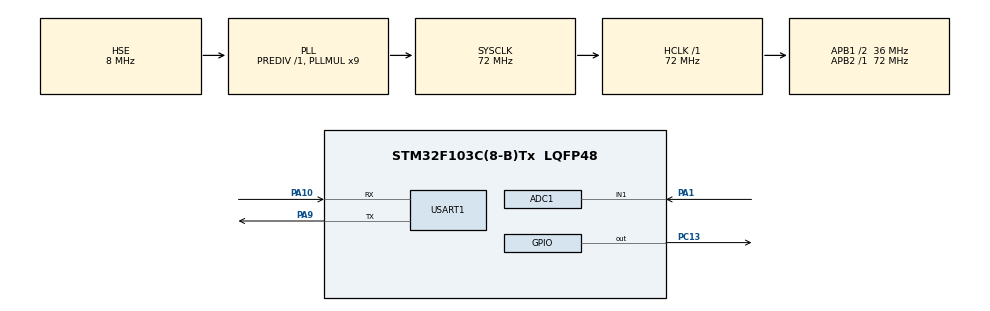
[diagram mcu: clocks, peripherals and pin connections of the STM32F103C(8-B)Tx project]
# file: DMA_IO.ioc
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ADC1.Channel-0\#ChannelRegularConversion=ADC_CHANNEL_1
ADC1.NbrOfConversionFlag=1
ADC1.Rank-0\#ChannelRegularConversion=1
ADC1.SamplingTime-0\#ChannelRegularConversion=ADC_SAMPLETIME_1CYCLE_5
ADC1.master=1
Dma.Request0=USART1_RX
Dma.Request1=USART1_TX
Dma.USART1_RX.0.Direction=DMA_PERIPH_TO_MEMORY
Dma.USART1_RX.0.Instance=DMA1_Channel5
Dma.USART1_RX.0.MemDataAlignment=DMA_MDATAALIGN_BYTE
Dma.USART1_RX.0.MemInc=DMA_MINC_ENABLE
Dma.USART1_RX.0.Mode=DMA_CIRCULAR
Dma.USART1_RX.0.PeriphDataAlignment=DMA_PDATAALIGN_BYTE
Dma.USART1_RX.0.PeriphInc=DMA_PINC_DISABLE
Dma.USART1_RX.0.Priority=DMA_PRIORITY_LOW
Dma.USART1_TX.1.Direction=DMA_MEMORY_TO_PERIPH
Dma.USART1_TX.1.Instance=DMA1_Channel4
Dma.USART1_TX.1.MemDataAlignment=DMA_MDATAALIGN_BYTE
Dma.USART1_TX.1.MemInc=DMA_MINC_ENABLE
Dma.USART1_TX.1.Mode=DMA_NORMAL
Dma.USART1_TX.1.PeriphDataAlignment=DMA_PDATAALIGN_BYTE
Dma.USART1_TX.1.PeriphInc=DMA_PINC_DISABLE
Dma.USART1_TX.1.Priority=DMA_PRIORITY_LOW
Mcu.Family=STM32F1
Mcu.Name=STM32F103C(8-B)Tx
Mcu.Package=LQFP48
NVIC.ADC1_2_IRQn=true\:0\:0\:false\:false\:true\:true\:true\:true
NVIC.DMA1_Channel4_IRQn=true\:0\:0\:false\:false\:true\:false\:true\:true
NVIC.DMA1_Channel5_IRQn=true\:0\:0\:false\:false\:true\:false\:true\:true
NVIC.PriorityGroup=NVIC_PRIORITYGROUP_4
NVIC.USART1_IRQn=true\:0\:0\:false\:false\:true\:true\:true\:true
PA1.Signal=ADCx_IN1
PA10.Mode=Asynchronous
PA10.Signal=USART1_RX
PA13.Mode=Serial_Wire
PA13.Signal=SYS_JTMS-SWDIO
PA14.Mode=Serial_Wire
PA14.Signal=SYS_JTCK-SWCLK
PA9.Mode=Asynchronous
PA9.Signal=USART1_TX
PC13-TAMPER-RTC.Signal=GPIO_Output
PC14-OSC32_IN.Mode=LSE-External-Oscillator
PC14-OSC32_IN.Signal=RCC_OSC32_IN
PC15-OSC32_OUT.Mode=LSE-External-Oscillator
PC15-OSC32_OUT.Signal=RCC_OSC32_OUT
PD0-OSC_IN.Mode=HSE-External-Oscillator
PD0-OSC_IN.Signal=RCC_OSC_IN
PD1-OSC_OUT.Mode=HSE-External-Oscillator
PD1-OSC_OUT.Signal=RCC_OSC_OUT
ProjectManager.HeapSize=0x200
ProjectManager.StackSize=0x400
ProjectManager.TargetToolchain=MDK-ARM V5.32
RCC.ADCPresc=RCC_ADCPCLK2_DIV6
RCC.AHBFreq_Value=72000000
RCC.APB1CLKDivider=RCC_HCLK_DIV2
RCC.APB1Freq_Value=36000000
RCC.APB1TimFreq_Value=72000000
RCC.APB2Freq_Value=72000000
RCC.APB2TimFreq_Value=72000000
RCC.HCLKFreq_Value=72000000
RCC.PLLMUL=RCC_PLL_MUL9
RCC.PLLSourceVirtual=RCC_PLLSOURCE_HSE
RCC.SYSCLKFreq_VALUE=72000000
RCC.SYSCLKSource=RCC_SYSCLKSOURCE_PLLCLK
RCC.USBFreq_Value=72000000
SH.ADCx_IN1.0=ADC1_IN1,IN1
USART1.VirtualMode=VM_ASYNC
board=custom

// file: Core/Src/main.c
/* USER CODE BEGIN Header */
/**
  ******************************************************************************
  * @file           : main.c
  * @brief          : Main program body
  ******************************************************************************
  * @attention
  *
  * Copyright (c) 2025 STMicroelectronics.
  * All rights reserved.
  *
  * This software is licensed under terms that can be found in the LICENSE file
  * in the root directory of this software component.
  * If no LICENSE file comes with this software, it is provided AS-IS.
  *
  ******************************************************************************
  */
/* USER CODE END Header */
#include "main.h"
#include "adc.h"
#include "dma.h"
#include "usart.h"
#include "gpio.h"

/* USER CODE BEGIN Includes */

#include "string.h"

/* USER CODE END Includes */

void SystemClock_Config(void);

/* USER CODE BEGIN 0 */

#define BUFFER_LEN 256  //缓冲区长度

uint8_t rx_buffer[BUFFER_LEN] = {0}; //缓冲区
uint8_t tx_buffer[BUFFER_LEN] = {0}; //用来发送单次传输的数据
volatile uint8_t complete_flag = 0;  //接收完成标志
volatile uint16_t tx_index; //tx遍历标志
volatile uint16_t rx_index; //rx遍历标志
uint16_t head = 0;  //单次数据在缓冲区的开始位置
uint16_t all_datalen = 0;  //总数据长度
uint16_t datalen = 0;  //单次数据长度

/* USER CODE END 0 */

int main(void)
{

  /* MCU Configuration--------------------------------------------------------*/

  /* Reset of all peripherals, Initializes the Flash interface and the Systick. */
  HAL_Init();

  /* Configure the system clock */
  SystemClock_Config();

  /* Initialize all configured peripherals */
  MX_GPIO_Init();
  MX_DMA_Init();
  MX_USART1_UART_Init();
  MX_ADC1_Init();
  /* USER CODE BEGIN 2 */

	HAL_UART_Receive_DMA(&huart1, rx_buffer, sizeof(rx_buffer));//启动DMA接收数据
	__HAL_UART_ENABLE_IT(&huart1, UART_IT_IDLE);//开启空闲中断
	HAL_UART_Transmit(&huart1,(uint8_t*)"SystemLink\n",11,100);

  /* USER CODE END 2 */

  /* Infinite loop */
  /* USER CODE BEGIN WHILE */
  while (1)
  {
		if(complete_flag){//如果空闲中断已经处理完数据

			HAL_GPIO_TogglePin(GPIOC, GPIO_PIN_13);

			datalen = all_datalen - head; //计算出单次数据的长度

			HAL_UART_Transmit(&huart1, rx_buffer, BUFFER_LEN, 1000); //发送收到的数据

			complete_flag = 0; //清除完成标志

			HAL_UART_Receive_DMA(&huart1, rx_buffer, sizeof(rx_buffer));//启动DMA接收数据
			__HAL_DMA_ENABLE(huart1.hdmarx); //重新启动DMA接收

		}
		HAL_Delay(20);
    /* USER CODE END WHILE */

  }
}

void SystemClock_Config(void)
{
  RCC_OscInitTypeDef RCC_OscInitStruct = {0};
  RCC_ClkInitTypeDef RCC_ClkInitStruct = {0};
  RCC_PeriphCLKInitTypeDef PeriphClkInit = {0};

  /** Initializes the RCC Oscillators according to the specified parameters
  * in the RCC_OscInitTypeDef structure.
  */
  RCC_OscInitStruct.OscillatorType = RCC_OSCILLATORTYPE_HSE;
  RCC_OscInitStruct.HSEState = RCC_HSE_ON;
  RCC_OscInitStruct.HSEPredivValue = RCC_HSE_PREDIV_DIV1;
  RCC_OscInitStruct.HSIState = RCC_HSI_ON;
  RCC_OscInitStruct.PLL.PLLState = RCC_PLL_ON;
  RCC_OscInitStruct.PLL.PLLSource = RCC_PLLSOURCE_HSE;
  RCC_OscInitStruct.PLL.PLLMUL = RCC_PLL_MUL9;
  if (HAL_RCC_OscConfig(&RCC_OscInitStruct) != HAL_OK)
  {
    Error_Handler();
  }

  /** Initializes the CPU, AHB and APB buses clocks
  */
  RCC_ClkInitStruct.ClockType = RCC_CLOCKTYPE_HCLK|RCC_CLOCKTYPE_SYSCLK
                              |RCC_CLOCKTYPE_PCLK1|RCC_CLOCKTYPE_PCLK2;
  RCC_ClkInitStruct.SYSCLKSource = RCC_SYSCLKSOURCE_PLLCLK;
  RCC_ClkInitStruct.AHBCLKDivider = RCC_SYSCLK_DIV1;
  RCC_ClkInitStruct.APB1CLKDivider = RCC_HCLK_DIV2;
  RCC_ClkInitStruct.APB2CLKDivider = RCC_HCLK_DIV1;

  if (HAL_RCC_ClockConfig(&RCC_ClkInitStruct, FLASH_LATENCY_2) != HAL_OK)
  {
    Error_Handler();
  }
  PeriphClkInit.PeriphClockSelection = RCC_PERIPHCLK_ADC;
  PeriphClkInit.AdcClockSelection = RCC_ADCPCLK2_DIV6;
  if (HAL_RCCEx_PeriphCLKConfig(&PeriphClkInit) != HAL_OK)
  {
    Error_Handler();
  }
}

void Error_Handler(void)
{
  __disable_irq();
  while (1)
  {
  }
}
